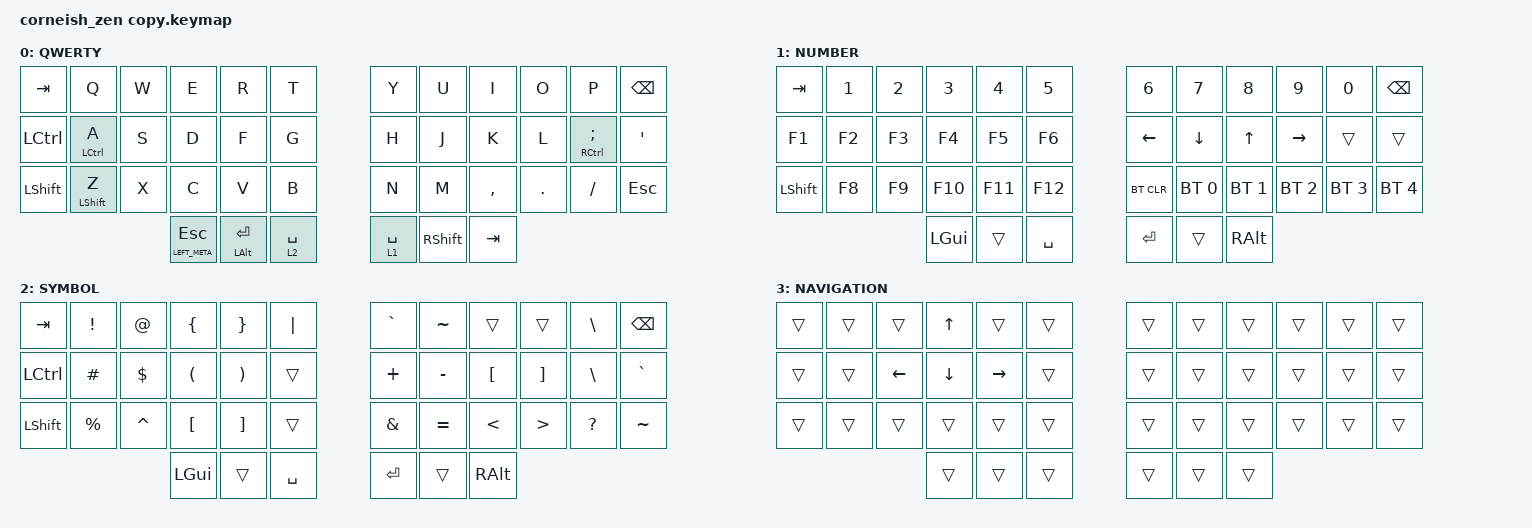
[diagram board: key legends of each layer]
#include <behaviors.dtsi>
#include <dt-bindings/zmk/keys.h>
#include <dt-bindings/zmk/bt.h>

/ {
    combos {
        compatible = "zmk,combos";

        sd_bkspc {
            bindings = <&kp BSPC>;
            key-positions = <15 14>;
        };

        kl_delete {
            bindings = <&kp DELETE>;
            key-positions = <20 21>;
        };

        bothSpace_layer3 {
            bindings = <&mo 3>;
            key-positions = <38 39>;
        };
    };

    behaviors {
        kp_mo: behavior_kp_mo {
            compatible = "zmk,behavior-hold-tap";
            label = "kp_mo";
            #binding-cells = <2>;
            flavor = "hold-preferred";
            tapping-term-ms = <200>;
            bindings =
                <&kp>,
                <&mo>;
        };
    };

    keymap {
        compatible = "zmk,keymap";

        QWERTY {
            label = "QWERTY";

            // -----------------------------------------------------------------------------------------
            // |  TAB |  Q  |  W  |  E  |  R  |  T  |   |  Y  |  U   |  I  |  O  |  P  | BKSP |
            // | CTRL |  A  |  S  |  D  |  F  |  G  |   |  H  |  J   |  K  |  L  |  ;  |  '   |
            // | SHFT |LSFT/Z|  X  |  C  |  V  |  B  |   |  N  |  M   |  ,  |  .  |  /  | ESC  |
            //                    | GUI | LWR | SPC |   | ENT | RSE  | ALT |

            bindings = <
   &kp TAB               &kp Q   &kp W              &kp E               &kp R        &kp T                &kp Y      &kp U      &kp I    &kp O           &kp P  &kp BSPC
 &kp LCTRL  &mt LEFT_CONTROL A   &kp S              &kp D               &kp F        &kp G                &kp H      &kp J      &kp K    &kp L  &mt RCTRL SEMI   &kp SQT
 &kp LSHFT        &mt LSHIFT Z   &kp X              &kp C               &kp V        &kp B                &kp N      &kp M  &kp COMMA  &kp DOT        &kp FSLH   &kp ESC
                                        &mt LEFT_META ESC  &mt LEFT_ALT ENTER  &lt 2 SPACE          &lt 1 SPACE  &kp RSHFT    &kp TAB
            >;
        };

        NUMBER {
            label = "NUMBER";

            // -----------------------------------------------------------------------------------------
            // |  TAB |  1  |  2  |  3  |  4  |  5  |   |  6  |  7  |  8  |  9  |  0  | BKSP |
            // | BTCLR| BT1 | BT2 | BT3 | BT4 | BT5 |   | LFT | DWN |  UP | RGT |     |      |
            // | SHFT |     |     |     |     |     |   |     |     |     |     |     |      |
            //                    | GUI |     | SPC |   | ENT |     | ALT |

            bindings = <
   &kp TAB  &kp N1  &kp N2    &kp N3   &kp N4     &kp N5              &kp N6        &kp N7        &kp N8        &kp N9        &kp N0      &kp BSPC
    &kp F1  &kp F2  &kp F3    &kp F4   &kp F5     &kp F6            &kp LEFT      &kp DOWN        &kp UP     &kp RIGHT        &trans        &trans
 &kp LSHFT  &kp F8  &kp F9   &kp F10  &kp F11    &kp F12          &bt BT_CLR  &bt BT_SEL 0  &bt BT_SEL 1  &bt BT_SEL 2  &bt BT_SEL 3  &bt BT_SEL 4
                            &kp LGUI   &trans  &kp SPACE             &kp RET        &trans      &kp RALT
            >;
        };

        SYMBOL {
            label = "SYMBOL";

            // -----------------------------------------------------------------------------------------
            // |  TAB |  Q  |  W  |  E  |  R  |  T  |   |  Y  |  U   |  I  |  O  |  P  | BKSP |
            // | CTRL |  A  |  S  |  D  |  F  |  G  |   |  H  |  J   |  K  |  L  |  ;  |  '   |
            // | SHFT |  Z  |  X  |  C  |  V  |  B  |   |  N  |  M   |  ,  |  .  |  /  | ESC  |
            //                    | GUI | LWR | SPC |   | ENT | RSE  | ALT |
            // -----------------------------------------------------------------------------------------
            // |  TAB |  !  |  @  |  {  |  }  | "|" |   |  ^  |  &  |  *  |  (  |  )  | BKSP |
            // | CTRL |  #  |  $  |  (  |  )  |     |   |  -  |  =  |  [  |  ]  |  \  |  `   |
            // | SHFT |  %  |  ^  |  [  |  ]  |     |   |  _  |  +  |  {  |  }  | "|" |  ~   |
            //                    | GUI |     | SPC |   | ENT |     | ALT |

            bindings = <
   &kp TAB   &kp EXCL     &kp AT          &kp LBRC  &kp RBRC   &kp PIPE          &kp GRAVE  &kp TILDE    &trans    &trans  &kp BACKSLASH   &kp BSPC
 &kp LCTRL   &kp HASH   &kp DLLR          &kp LPAR  &kp RPAR     &trans           &kp PLUS  &kp MINUS  &kp LBKT  &kp RBKT       &kp BSLH  &kp GRAVE
 &kp LSHFT  &kp PRCNT  &kp CARET  &kp LEFT_BRACKET  &kp RBKT     &trans           &kp AMPS  &kp EQUAL    &kp LT    &kp GT   &kp QUESTION  &kp TILDE
                                          &kp LGUI    &trans  &kp SPACE            &kp RET     &trans  &kp RALT
            >;
        };

        NAVIGATION {
            bindings = <
 &trans  &trans    &trans    &kp UP     &trans  &trans          &trans  &trans  &trans  &trans  &trans  &trans
 &trans  &trans  &kp LEFT  &kp DOWN  &kp RIGHT  &trans          &trans  &trans  &trans  &trans  &trans  &trans
 &trans  &trans    &trans    &trans     &trans  &trans          &trans  &trans  &trans  &trans  &trans  &trans
                             &trans     &trans  &trans          &trans  &trans  &trans
            >;
        };
    };
};
